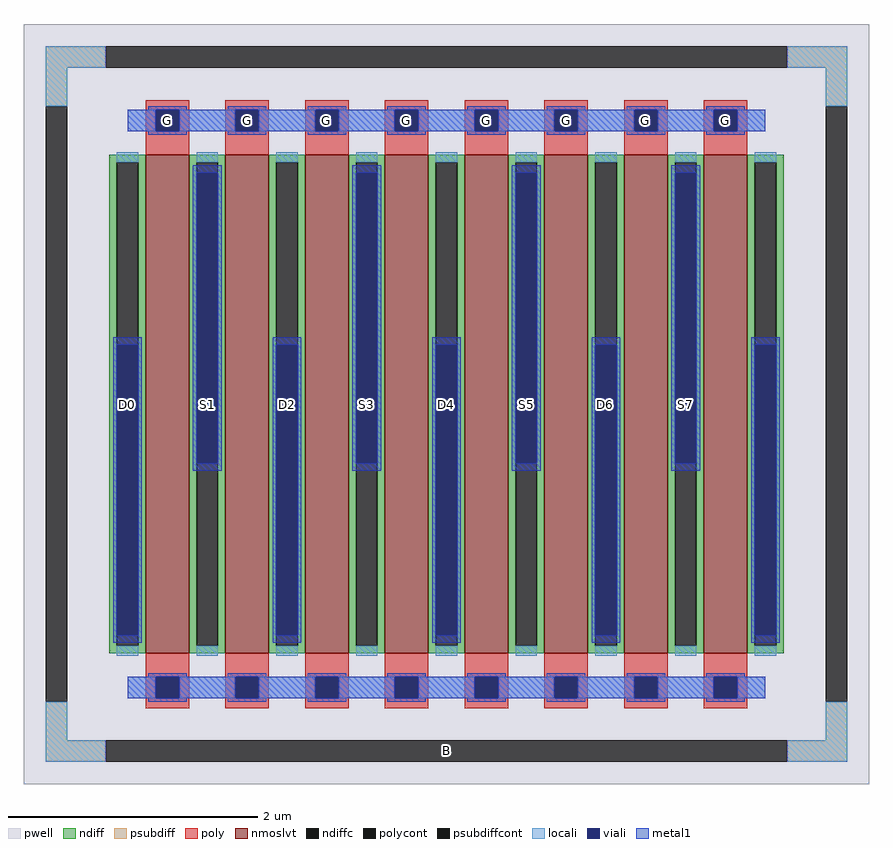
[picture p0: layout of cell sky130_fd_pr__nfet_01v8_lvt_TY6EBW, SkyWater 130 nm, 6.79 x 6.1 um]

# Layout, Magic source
magic
tech sky130A
magscale 1 2
<< pwell >>
rect -679 -610 679 610
<< nmoslvt >>
rect -483 -400 -413 400
rect -355 -400 -285 400
rect -227 -400 -157 400
rect -99 -400 -29 400
rect 29 -400 99 400
rect 157 -400 227 400
rect 285 -400 355 400
rect 413 -400 483 400
<< ndiff >>
rect -541 388 -483 400
rect -541 -388 -529 388
rect -495 -388 -483 388
rect -541 -400 -483 -388
rect -413 388 -355 400
rect -413 -388 -401 388
rect -367 -388 -355 388
rect -413 -400 -355 -388
rect -285 388 -227 400
rect -285 -388 -273 388
rect -239 -388 -227 388
rect -285 -400 -227 -388
rect -157 388 -99 400
rect -157 -388 -145 388
rect -111 -388 -99 388
rect -157 -400 -99 -388
rect -29 388 29 400
rect -29 -388 -17 388
rect 17 -388 29 388
rect -29 -400 29 -388
rect 99 388 157 400
rect 99 -388 111 388
rect 145 -388 157 388
rect 99 -400 157 -388
rect 227 388 285 400
rect 227 -388 239 388
rect 273 -388 285 388
rect 227 -400 285 -388
rect 355 388 413 400
rect 355 -388 367 388
rect 401 -388 413 388
rect 355 -400 413 -388
rect 483 388 541 400
rect 483 -388 495 388
rect 529 -388 541 388
rect 483 -400 541 -388
<< ndiffc >>
rect -529 -388 -495 388
rect -401 -388 -367 388
rect -273 -388 -239 388
rect -145 -388 -111 388
rect -17 -388 17 388
rect 111 -388 145 388
rect 239 -388 273 388
rect 367 -388 401 388
rect 495 -388 529 388
<< psubdiff >>
rect -643 540 -547 574
rect 547 540 643 574
rect -643 478 -609 540
rect 609 478 643 540
rect -643 -540 -609 -478
rect 609 -540 643 -478
rect -643 -574 -547 -540
rect 547 -574 643 -540
<< psubdiffcont >>
rect -547 540 547 574
rect -643 -478 -609 478
rect 609 -478 643 478
rect -547 -574 547 -540
<< poly >>
rect -483 472 -413 488
rect -483 438 -467 472
rect -429 438 -413 472
rect -483 400 -413 438
rect -355 472 -285 488
rect -355 438 -339 472
rect -301 438 -285 472
rect -355 400 -285 438
rect -227 472 -157 488
rect -227 438 -211 472
rect -173 438 -157 472
rect -227 400 -157 438
rect -99 472 -29 488
rect -99 438 -83 472
rect -45 438 -29 472
rect -99 400 -29 438
rect 29 472 99 488
rect 29 438 45 472
rect 83 438 99 472
rect 29 400 99 438
rect 157 472 227 488
rect 157 438 173 472
rect 211 438 227 472
rect 157 400 227 438
rect 285 472 355 488
rect 285 438 301 472
rect 339 438 355 472
rect 285 400 355 438
rect 413 472 483 488
rect 413 438 429 472
rect 467 438 483 472
rect 413 400 483 438
rect -483 -438 -413 -400
rect -483 -472 -467 -438
rect -429 -472 -413 -438
rect -483 -488 -413 -472
rect -355 -438 -285 -400
rect -355 -472 -339 -438
rect -301 -472 -285 -438
rect -355 -488 -285 -472
rect -227 -438 -157 -400
rect -227 -472 -211 -438
rect -173 -472 -157 -438
rect -227 -488 -157 -472
rect -99 -438 -29 -400
rect -99 -472 -83 -438
rect -45 -472 -29 -438
rect -99 -488 -29 -472
rect 29 -438 99 -400
rect 29 -472 45 -438
rect 83 -472 99 -438
rect 29 -488 99 -472
rect 157 -438 227 -400
rect 157 -472 173 -438
rect 211 -472 227 -438
rect 157 -488 227 -472
rect 285 -438 355 -400
rect 285 -472 301 -438
rect 339 -472 355 -438
rect 285 -488 355 -472
rect 413 -438 483 -400
rect 413 -472 429 -438
rect 467 -472 483 -438
rect 413 -488 483 -472
<< polycont >>
rect -467 438 -429 472
rect -339 438 -301 472
rect -211 438 -173 472
rect -83 438 -45 472
rect 45 438 83 472
rect 173 438 211 472
rect 301 438 339 472
rect 429 438 467 472
rect -467 -472 -429 -438
rect -339 -472 -301 -438
rect -211 -472 -173 -438
rect -83 -472 -45 -438
rect 45 -472 83 -438
rect 173 -472 211 -438
rect 301 -472 339 -438
rect 429 -472 467 -438
<< locali >>
rect -643 540 -547 574
rect 547 540 643 574
rect -643 478 -609 540
rect 609 478 643 540
rect -512 438 -467 472
rect -429 438 -339 472
rect -301 438 -211 472
rect -173 438 -83 472
rect -45 438 45 472
rect 83 438 173 472
rect 211 438 301 472
rect 339 438 429 472
rect 467 438 512 472
rect -529 388 -495 404
rect -529 -404 -495 -388
rect -401 388 -367 404
rect -401 -404 -367 -388
rect -273 388 -239 404
rect -273 -404 -239 -388
rect -145 388 -111 404
rect -145 -404 -111 -388
rect -17 388 17 404
rect -17 -404 17 -388
rect 111 388 145 404
rect 111 -404 145 -388
rect 239 388 273 404
rect 239 -404 273 -388
rect 367 388 401 404
rect 367 -404 401 -388
rect 495 388 529 404
rect 495 -404 529 -388
rect -512 -472 -467 -438
rect -429 -472 -339 -438
rect -301 -472 -211 -438
rect -173 -472 -83 -438
rect -45 -472 45 -438
rect 83 -472 173 -438
rect 211 -472 301 -438
rect 339 -472 429 -438
rect 467 -472 512 -438
rect -643 -540 -609 -478
rect 609 -540 643 -478
rect -643 -574 -547 -540
rect 547 -574 643 -540
<< viali >>
rect -467 438 -429 472
rect -339 438 -301 472
rect -211 438 -173 472
rect -83 438 -45 472
rect 45 438 83 472
rect 173 438 211 472
rect 301 438 339 472
rect 429 438 467 472
rect -529 -371 -495 95
rect -401 -95 -367 371
rect -273 -371 -239 95
rect -145 -95 -111 371
rect -17 -371 17 95
rect 111 -95 145 371
rect 239 -371 273 95
rect 367 -95 401 371
rect 495 -371 529 95
rect -467 -472 -429 -438
rect -339 -472 -301 -438
rect -211 -472 -173 -438
rect -83 -472 -45 -438
rect 45 -472 83 -438
rect 173 -472 211 -438
rect 301 -472 339 -438
rect 429 -472 467 -438
<< metal1 >>
rect -479 472 -417 478
rect -351 472 -289 478
rect -223 472 -161 478
rect -95 472 -33 478
rect 33 472 95 478
rect 161 472 223 478
rect 289 472 351 478
rect 417 472 479 478
rect -512 438 -467 472
rect -429 438 -339 472
rect -301 438 -211 472
rect -173 438 -83 472
rect -45 438 45 472
rect 83 438 173 472
rect 211 438 301 472
rect 339 438 429 472
rect 467 438 512 472
rect -479 432 -417 438
rect -351 432 -289 438
rect -223 432 -161 438
rect -95 432 -33 438
rect 33 432 95 438
rect 161 432 223 438
rect 289 432 351 438
rect 417 432 479 438
rect -407 371 -361 383
rect -535 95 -489 107
rect -535 -371 -529 95
rect -495 -371 -489 95
rect -407 -95 -401 371
rect -367 -95 -361 371
rect -151 371 -105 383
rect -407 -107 -361 -95
rect -279 95 -233 107
rect -535 -383 -489 -371
rect -279 -371 -273 95
rect -239 -371 -233 95
rect -151 -95 -145 371
rect -111 -95 -105 371
rect 105 371 151 383
rect -151 -107 -105 -95
rect -23 95 23 107
rect -279 -383 -233 -371
rect -23 -371 -17 95
rect 17 -371 23 95
rect 105 -95 111 371
rect 145 -95 151 371
rect 361 371 407 383
rect 105 -107 151 -95
rect 233 95 279 107
rect -23 -383 23 -371
rect 233 -371 239 95
rect 273 -371 279 95
rect 361 -95 367 371
rect 401 -95 407 371
rect 361 -107 407 -95
rect 489 95 535 107
rect 233 -383 279 -371
rect 489 -371 495 95
rect 529 -371 535 95
rect 489 -383 535 -371
rect -479 -438 -417 -432
rect -351 -438 -289 -432
rect -223 -438 -161 -432
rect -95 -438 -33 -432
rect 33 -438 95 -432
rect 161 -438 223 -432
rect 289 -438 351 -432
rect 417 -438 479 -432
rect -512 -472 -467 -438
rect -429 -472 -339 -438
rect -301 -472 -211 -438
rect -173 -472 -83 -438
rect -45 -472 45 -438
rect 83 -472 173 -438
rect 211 -472 301 -438
rect 339 -472 429 -438
rect 467 -472 512 -438
rect -479 -478 -417 -472
rect -351 -478 -289 -472
rect -223 -478 -161 -472
rect -95 -478 -33 -472
rect 33 -478 95 -472
rect 161 -478 223 -472
rect 289 -478 351 -472
rect 417 -478 479 -472
<< labels >>
rlabel psubdiffcont 0 -557 0 -557 0 B
port 1 nsew
rlabel ndiffc -512 0 -512 0 0 D0
port 2 nsew
rlabel polycont -448 455 -448 455 0 G
port 3 nsew
rlabel ndiffc -384 0 -384 0 0 S1
port 4 nsew
rlabel polycont -320 455 -320 455 0 G
port 3 nsew
rlabel ndiffc -256 0 -256 0 0 D2
port 5 nsew
rlabel polycont -192 455 -192 455 0 G
port 3 nsew
rlabel ndiffc -128 0 -128 0 0 S3
port 6 nsew
rlabel polycont -64 455 -64 455 0 G
port 3 nsew
rlabel ndiffc 0 0 0 0 0 D4
port 7 nsew
rlabel polycont 64 455 64 455 0 G
port 3 nsew
rlabel ndiffc 128 0 128 0 0 S5
port 8 nsew
rlabel polycont 192 455 192 455 0 G
port 3 nsew
rlabel ndiffc 256 0 256 0 0 D6
port 9 nsew
rlabel polycont 320 455 320 455 0 G
port 3 nsew
rlabel ndiffc 384 0 384 0 0 S7
port 10 nsew
rlabel polycont 448 455 448 455 0 G
port 3 nsew
<< properties >>
string FIXED_BBOX -626 -557 626 557
string gencell sky130_fd_pr__nfet_01v8_lvt
string library sky130
string parameters w 4.0 l 0.35 m 1 nf 8 diffcov 100 polycov 100 guard 1 glc 1 grc 1 gtc 1 gbc 1 tbcov 100 rlcov 100 topc 1 botc 1 poverlap 0 doverlap 1 lmin 0.15 wmin 0.42 class mosfet compatible {sky130_fd_pr__nfet_01v8 sky130_fd_pr__nfet_01v8_lvt  sky130_fd_bs_flash__special_sonosfet_star  sky130_fd_pr__nfet_g5v0d10v5 sky130_fd_pr__nfet_05v0_nvt  sky130_fd_pr__nfet_03v3_nvt} full_metal 1 conn_gates 1 viasrc -60 viadrn +60 viagate 100 viagb 0 viagr 0 viagl 0 viagt 0 doports 1
<< end >>
